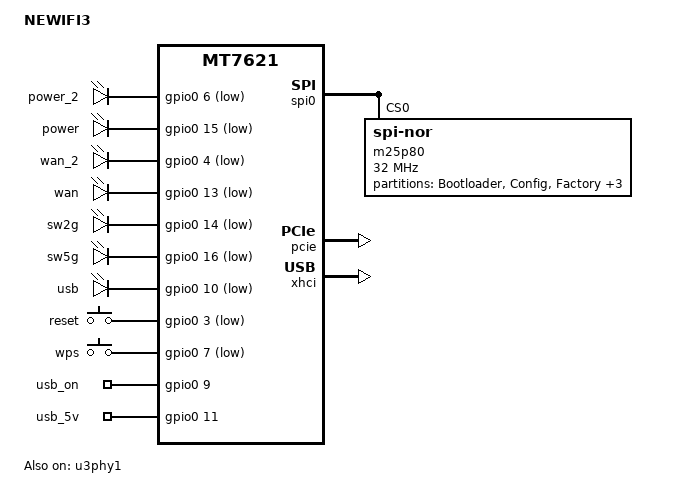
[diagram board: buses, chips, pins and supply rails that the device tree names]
/dts-v1/;

#include "mt7621-raeth.dtsi"
#include <dt-bindings/input/input.h>

/ {
	compatible = "mediatek,mt7621-soc";
	model = "NEWIFI3";
	
	chosen {
		bootargs = "console=ttyS0,115200";
	};

	leds {
		compatible = "gpio-leds";

		sys_purple {
			label = "power_2";
			gpios = <&gpio0 6 GPIO_ACTIVE_LOW>;
		};

		sys_blue {
			label = "power";
			gpios = <&gpio0 15 GPIO_ACTIVE_LOW>;
		};

		wan_purple {
			label = "wan_2";
			gpios = <&gpio0 4 GPIO_ACTIVE_LOW>;
		};

		wan_blue {
			label = "wan";
			gpios = <&gpio0 13 GPIO_ACTIVE_LOW>;
		};

		w2g_blue {
			label = "sw2g";
			gpios = <&gpio0 14 GPIO_ACTIVE_LOW>;
		};

		w5g_blue {
			label = "sw5g";
			gpios = <&gpio0 16 GPIO_ACTIVE_LOW>;
		};

		usb_blue {
			label = "usb";
			gpios = <&gpio0 10 GPIO_ACTIVE_LOW>;
		};
	};

	gpio-keys-polled {
		compatible = "gpio-keys-polled";
		#address-cells = <1>;
		#size-cells = <0>;
		poll-interval = <20>;

		reset {
			label = "reset";
			gpios = <&gpio0 3 GPIO_ACTIVE_LOW>;
			linux,code = <KEY_RESTART>;
		};

		wps {
			label = "wps";
			gpios = <&gpio0 7 GPIO_ACTIVE_LOW>;
			linux,code = <KEY_WPS_BUTTON>;
		};
	};

	gpio_export {
		compatible = "gpio-export";
		#size-cells = <0>;

		usb_on {
			gpio-export,name = "usb_on";
			gpio-export,output = <1>;
			gpios = <&gpio0 9 GPIO_ACTIVE_HIGH>;
		};

		usb_5v {
			gpio-export,name = "usb_5v";
			gpio-export,output = <1>;
			gpios = <&gpio0 11 GPIO_ACTIVE_HIGH>;
		};
	};
};

&spi0 {
	status = "okay";

	m25p80@0 {
		#address-cells = <1>;
		#size-cells = <1>;
		compatible = "jedec,spi-nor";
		reg = <0>;
		spi-max-frequency = <32000000>;

		partition@00000 {
			label = "Bootloader";
			reg = <0x00000 0x30000>; /* 192K */
		};

		partition@30000 {
			label = "Config";
			reg = <0x30000 0x10000>; /* 64K */
		};

		partition@40000 {
			label = "Factory";
			reg = <0x40000 0x10000>; /* 64K */
		};

		partition@50000 {
			label = "firmware";
			reg = <0x50000 0x17b0000>; /* 23M */
		};

		partition@1800000 {
			label = "Storage";
			reg = <0x1800000 0x800000>; /* 8M */
		};

		partition@2000000 {
			label = "25Q256JVFQ";
			reg = <0x00000 0x2000000>; /* 32M */
		};
	};
};

&pcie {
	status = "okay";
};

&xhci {
	status = "okay";
};

&u3phy1 {
	status = "okay";
};
